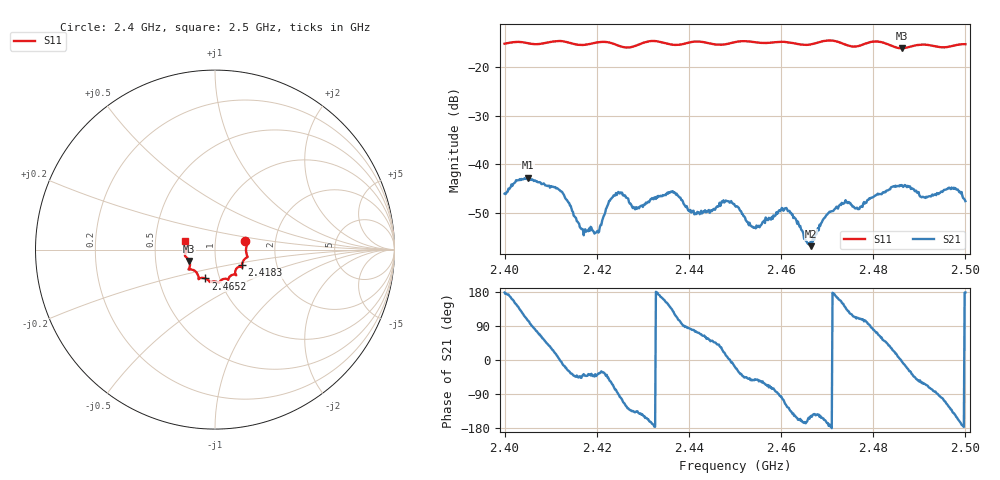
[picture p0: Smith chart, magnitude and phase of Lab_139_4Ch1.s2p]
# Hz S RI R 50
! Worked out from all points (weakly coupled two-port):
!   601 points, 2.4 GHz to 2.5 GHz, reference 50 ohm
!   highest |S21| = -42.79 dB at 2.405 GHz (marker M1); lowest = -56.9 dB at 2.4665 GHz (marker M2)
!   lowest |S11| = -16.1 dB at 2.4862 GHz (marker M3), VSWR 1.37, Z = 37.2 - j4.86 ohm
!   |S11| at or under -10 dB: start of sweep to end of sweep
!   S12 and S22 are empty: the file has one direction only
!   S11 on the Smith chart (normalised r, x): 2.4 GHz: 1.40, +0.13; 2.4183 GHz: 1.33, -0.24; 2.4652 GHz: 0.85, -0.28; 2.5 GHz: 0.71, +0.07
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2.4e9  0.1683 0.0465  -0.00498 0.000175  0 0  0 0
2.405e9  0.1758 0.019  -0.00185 0.00701  0 0  0 0
2.412167e9  0.1813 -0.0415  0.00526 -0.000299  0 0  0 0
2.416667e9  0.1551 -0.0679  0.00146 -0.00158  0 0  0 0
2.418333e9  0.1499 -0.0867  0.00172 -0.00135  0 0  0 0
2.420167e9  0.1506 -0.099  0.00163 -0.00127  0 0  0 0
2.424333e9  0.1401 -0.0951  0.000547 -0.00479  0 0  0 0
2.428667e9  0.1124 -0.1247  -0.00246 -0.00245  0 0  0 0
2.433333e9  0.1175 -0.1415  -0.00469 0.000572  0 0  0 0
2.4365e9  0.0955 -0.1412  -0.00335 0.00408  0 0  0 0
2.441667e9  0.0738 -0.1683  0.000845 0.00295  0 0  0 0
2.45e9  0.0256 -0.1797  0.00355 -0.00118  0 0  0 0
2.454e9  0.0144 -0.1811  0.00134 -0.00177  0 0  0 0
2.461333e9  -0.0304 -0.1785  -0.00193 -0.00282  0 0  0 0
2.465167e9  -0.0543 -0.1609  -0.00166 -0.000485  0 0  0 0
2.4665e9  -0.0691 -0.1576  -0.00121 -0.000775  0 0  0 0
2.466667e9  -0.0708 -0.1575  -0.00141 -0.000819  0 0  0 0
2.473e9  -0.0912 -0.1528  -0.00346 0.00157  0 0  0 0
2.477167e9  -0.1234 -0.1131  -0.0012 0.00345  0 0  0 0
2.483333e9  -0.1411 -0.0967  0.00428 0.00337  0 0  0 0
2.486167e9  -0.1432 -0.0637  0.00611 -0.000288  0 0  0 0
2.5e9  -0.1662 0.0471  -0.00417 0.000122  0 0  0 0
